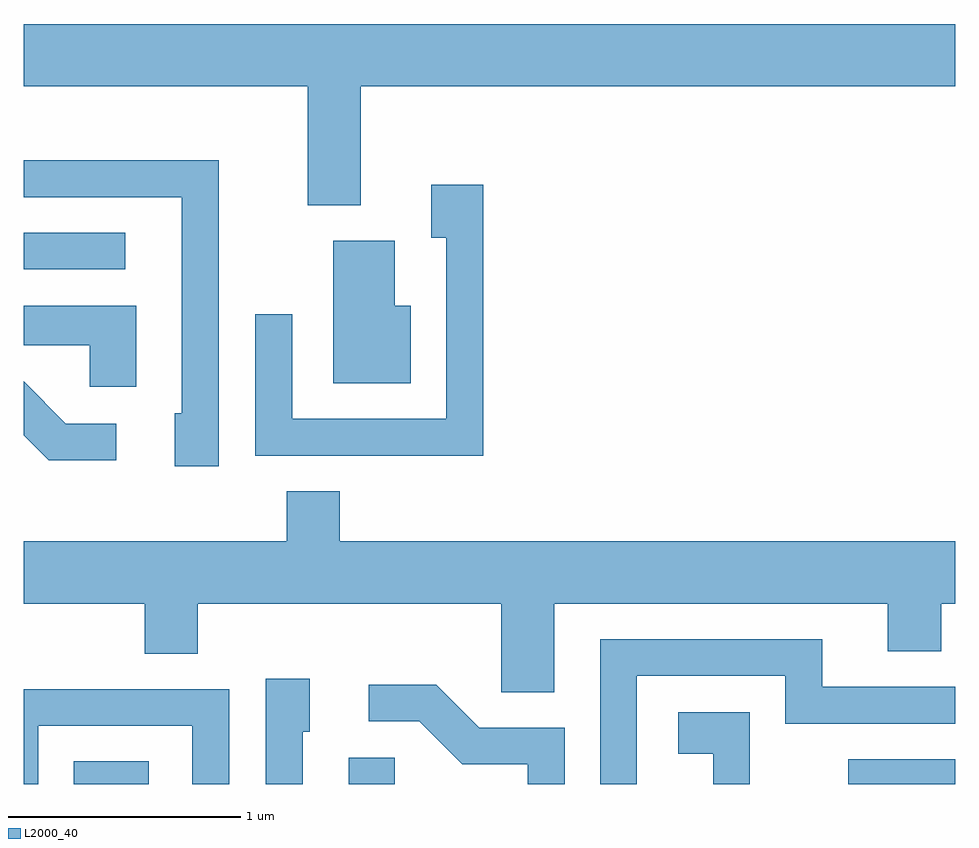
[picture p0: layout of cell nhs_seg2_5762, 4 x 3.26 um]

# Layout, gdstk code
import gdstk
lib = gdstk.Library(unit=1e-6, precision=1e-09)
def R(c, l, rs):  # rectangles x0, y0, x1, y1
    for r in rs: c.add(gdstk.rectangle(r[:2], r[2:], *l))
def P(c, l, *ps):  # polygons
    for p in ps: c.add(gdstk.Polygon(p, *l))
L2000_40 = (2000, 40)

nhs_seg2_5762 = lib.new_cell('nhs_seg2_5762')
R(nhs_seg2_5762, L2000_40, [(355.826,1009.802,356.149,1009.899), (357.006,1009.802,357.204,1009.914), (359.151,1009.802,359.611,1009.909), (355.611,1012.011,356.048,1012.169)])
P(nhs_seg2_5762, L2000_40, [(357.059,1012.796),(359.611,1012.796),(359.611,1013.064),(355.611,1013.064),(355.611,1012.796),(356.831,1012.796),(356.831,1012.286),(357.059,1012.286)],
  [(356.449,1012.479),(355.611,1012.479),(355.611,1012.321),(356.291,1012.321),(356.291,1011.394),(356.261,1011.394),(356.261,1011.166),(356.449,1011.166)],
  [(357.584,1012.374),(357.361,1012.374),(357.361,1012.146),(357.426,1012.146),(357.426,1011.369),(356.764,1011.369),(356.764,1011.818),(356.606,1011.818),(356.606,1011.211),(357.584,1011.211)],
  [(357.274,1011.854),(357.204,1011.854),(357.204,1012.134),(356.941,1012.134),(356.941,1011.521),(357.274,1011.521)],
  [(356.094,1011.854),(355.611,1011.854),(355.611,1011.686),(355.896,1011.686),(355.896,1011.506),(356.094,1011.506)],
  [(356.008,1011.349),(355.792,1011.349),(355.611,1011.53),(355.611,1011.299),(355.719,1011.191),(356.008,1011.191)],
  [(357.889,1010.576),(359.321,1010.576),(359.321,1010.371),(359.549,1010.371),(359.549,1010.576),(359.611,1010.576),(359.611,1010.844),(356.969,1010.844),(356.969,1011.059),(356.741,1011.059),(356.741,1010.844),(355.611,1010.844),(355.611,1010.576),(356.131,1010.576),(356.131,1010.361),(356.359,1010.361),(356.359,1010.576),(357.661,1010.576),(357.661,1010.196),(357.889,1010.196)],
  [(358.244,1010.266),(358.881,1010.266),(358.881,1010.061),(359.611,1010.061),(359.611,1010.219),(359.039,1010.219),(359.039,1010.424),(358.086,1010.424),(358.086,1009.802),(358.244,1009.802)],
  [(356.809,1010.026),(356.839,1010.026),(356.839,1010.254),(356.651,1010.254),(356.651,1009.802),(356.809,1009.802)],
  [(357.934,1010.044),(357.567,1010.044),(357.382,1010.229),(357.093,1010.229),(357.093,1010.071),(357.309,1010.071),(357.494,1009.886),(357.776,1009.886),(357.776,1009.802),(357.934,1009.802)],
  [(355.674,1010.051),(356.336,1010.051),(356.336,1009.802),(356.494,1009.802),(356.494,1010.209),(355.611,1010.209),(355.611,1009.802),(355.674,1009.802)],
  [(358.729,1010.109),(358.421,1010.109),(358.421,1009.931),(358.571,1009.931),(358.571,1009.802),(358.729,1009.802)])

lib.write_gds('nhs_seg2_5762.gds')
